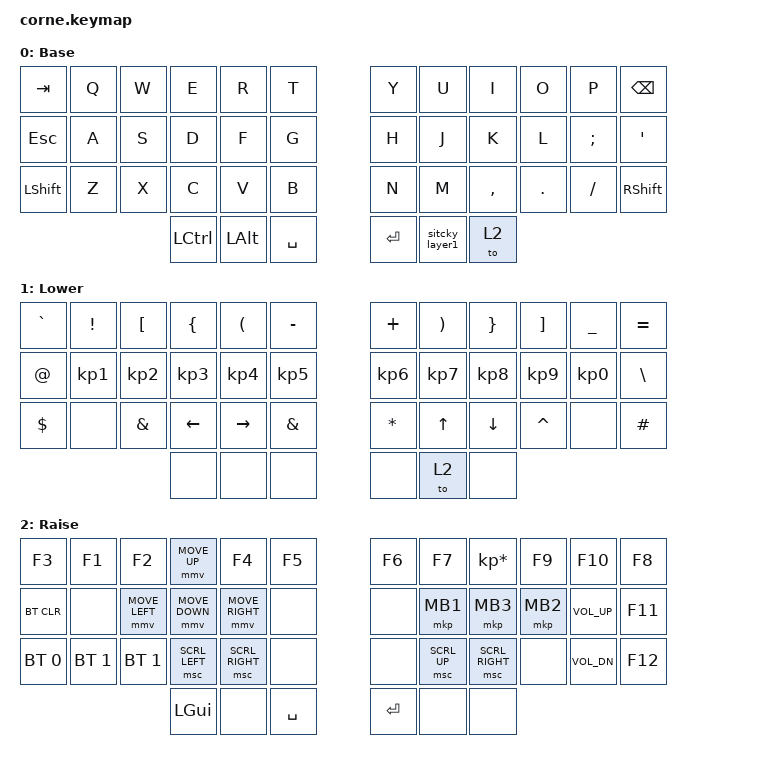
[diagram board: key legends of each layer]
/*
 * Copyright (c) 2020 The ZMK Contributors
 *
 * SPDX-License-Identifier: MIT
 */

#include <behaviors.dtsi>
#include <dt-bindings/zmk/bt.h>
#include <dt-bindings/zmk/keys.h>
#include <dt-bindings/zmk/pointing.h>

/ {
    combos {
        compatible = "zmk,combos";

        Go_to_base_layer {
            bindings = <&to 0>;
            key-positions = <37 40>;
            timeout-ms = <0>;
        };
    };

    macros {
        sitcky_layer1: sitcky_layer1 {
            compatible = "zmk,behavior-macro";
            #binding-cells = <0>;
            bindings = <&sl 1>;
            label = "SITCKY_LAYER1";
        };
    };

    keymap {
        compatible = "zmk,keymap";

        default_layer {
            // -----------------------------------------------------------------------------------------
            // |  TAB |  Q  |  W  |  E  |  R  |  T  |   |  Y  |  U   |  I  |  O  |  P  | BKSP |
            // | CTRL |  A  |  S  |  D  |  F  |  G  |   |  H  |  J   |  K  |  L  |  ;  |  '   |
            // | SHFT |  Z  |  X  |  C  |  V  |  B  |   |  N  |  M   |  ,  |  .  |  /  | ESC  |
            //                    | GUI | LWR | SPC |   | ENT | RSE  | ALT |

            display-name = "Base";
            bindings = <
&kp TAB    &kp Q  &kp W  &kp E             &kp R         &kp T        &kp Y    &kp U           &kp I      &kp O    &kp P     &kp BSPC
&kp ESC    &kp A  &kp S  &kp D             &kp F         &kp G        &kp H    &kp J           &kp K      &kp L    &kp SEMI  &kp SQT
&kp LSHFT  &kp Z  &kp X  &kp C             &kp V         &kp B        &kp N    &kp M           &kp COMMA  &kp DOT  &kp FSLH  &kp RSHIFT
                         &kp LEFT_CONTROL  &kp LEFT_ALT  &kp SPACE    &kp RET  &sitcky_layer1  &to 2
            >;
        };

        lower_layer {
            // -----------------------------------------------------------------------------------------
            // |  TAB |  1  |  2  |  3  |  4  |  5  |   |  6  |  7  |  8  |  9  |  0  | BKSP |
            // | BTCLR| BT1 | BT2 | BT3 | BT4 | BT5 |   | LFT | DWN |  UP | RGT |     |      |
            // | SHFT |     |     |     |     |     |   |     |     |     |     |     |      |
            //                    | GUI |     | SPC |   | ENT |     | ALT |

            display-name = "Lower";
            bindings = <
&kp GRAVE   &kp EXCLAMATION  &kp LEFT_BRACKET  &kp LEFT_BRACE   &kp LEFT_PARENTHESIS  &kp MINUS          &kp PLUS         &kp RIGHT_PARENTHESIS  &kp RIGHT_BRACE  &kp RIGHT_BRACKET  &kp UNDER        &kp EQUAL
&kp AT      &kp KP_NUMBER_1  &kp KP_NUMBER_2   &kp KP_NUMBER_3  &kp KP_NUMBER_4       &kp KP_NUMBER_5    &kp KP_NUMBER_6  &kp KP_NUMBER_7        &kp KP_NUMBER_8  &kp KP_NUMBER_9    &kp KP_NUMBER_0  &kp BACKSLASH
&kp DOLLAR  &none            &kp AMPERSAND     &kp LEFT         &kp RIGHT             &kp AMPERSAND      &kp ASTRK        &kp UP_ARROW           &kp DOWN         &kp CARET          &none            &kp POUND
                                               &none            &none                 &none              &none            &to 2                  &none
            >;
        };

        raise_layer {
            // -----------------------------------------------------------------------------------------
            // |  TAB |  !  |  @  |  #  |  $  |  %  |   |  ^  |  &  |  *  |  (  |  )  | BKSP |
            // | CTRL |     |     |     |     |     |   |  -  |  =  |  [  |  ]  |  \  |  `   |
            // | SHFT |     |     |     |     |     |   |  _  |  +  |  {  |  }  | "|" |  ~   |
            //                    | GUI |     | SPC |   | ENT |     | ALT |

            display-name = "Raise";
            bindings = <
&kp F3        &kp F1        &kp F2          &mmv MOVE_UP    &kp F4           &kp F5       &kp F6   &kp F7        &kp KP_MULTIPLY  &kp F9    &kp F10       &kp F8
&bt BT_CLR    &none         &mmv MOVE_LEFT  &mmv MOVE_DOWN  &mmv MOVE_RIGHT  &none        &none    &mkp MB1      &mkp MB3         &mkp MB2  &kp K_VOL_UP  &kp F11
&bt BT_SEL 0  &bt BT_SEL 1  &bt BT_SEL 1    &msc SCRL_LEFT  &msc SCRL_RIGHT  &none        &none    &msc SCRL_UP  &msc SCRL_RIGHT  &none     &kp K_VOL_DN  &kp F12
                                            &kp LEFT_GUI    &none            &kp SPACE    &kp RET  &none         &none
            >;
        };

        extra_1 { status = "reserved"; };

        extra_2 { status = "reserved"; };

        extra_3 { status = "reserved"; };
    };
};
